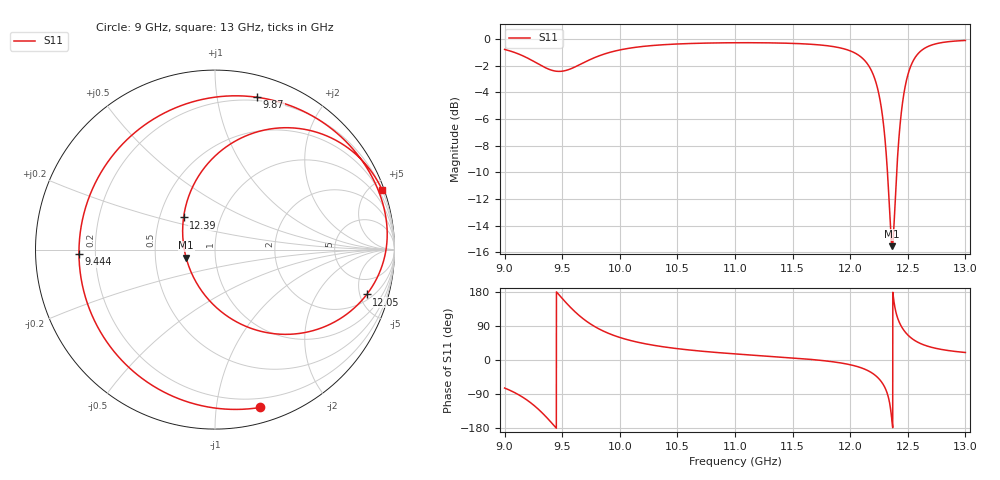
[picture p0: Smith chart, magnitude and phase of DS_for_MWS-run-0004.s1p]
! TOUCHSTONE file generated by CST DESIGN STUDIO
! Date and time: Tue Feb  4 18:16:57 2025
! Project name: C:\Work\MatlabApps\UnitCellOptimizationMatlab\CST\unitcell.cst
! Tree item: Tasks\Sweep1\SPara1\S-Parameters
! Header version: 2024
! Port assignment regex: !\s*Touchstone port\s*([0-9]+)\s*=\s*(CST MWS port|CST DES external port|CST DES block port)\s*(.+)\s* \(\"(.*)\"\)(\s*mode\s*([0-9]+))?.*
! Touchstone port assignment:
! Touchstone port 1 = CST DES external port 1 ("")
# GHz S MA R 50
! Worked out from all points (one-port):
!   4001 points, 9 GHz to 13 GHz, reference 50 ohm
!   lowest |S11| = -15.5 dB at 12.36 GHz (marker M1), VSWR 1.40, Z = 36 - j3.32 ohm
!   |S11| at or under -10 dB: 12.32 GHz to 12.4 GHz (79.56 MHz wide, 0.644 % of centre)
!   S11 on the Smith chart (normalised r, x): 9 GHz: 0.12, -1.32; 9.444 GHz: 0.14, -0.02; 9.87 GHz: 0.17, +1.30; 12.05 GHz: 2.58, -5.80; 12.39 GHz: 0.66, +0.25; 13 GHz: 0.19, +5.73
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9  0.9149 -74.0
9.134  0.8749 -93.9
9.238  0.8319 -115.6
9.356  0.7805 -148.7
9.444  0.7583 -178.2
9.5  0.7581 162.4
9.587  0.778 134.3
9.669  0.8091 111.9
9.759  0.8444 92.5
9.87  0.8806 74.5
10  0.9108 59.5
10.215  0.9403 43.2
10.5  0.959 29.9
11  0.9693 16.1
11.5  0.9639 5.5
12  0.9037 -12.5
12.052  0.8818 -16.5
12.174  0.7771 -31.4
12.265  0.5712 -55.1
12.315  0.3593 -82.3
12.349  0.198 -126.2
12.364  0.1672 -164.5
12.391  0.2506 134.3
12.445  0.5361 88.3
12.5  0.7331 66.1
12.578  0.8703 48.3
12.673  0.9375 36.4
13  0.9886 19.8
